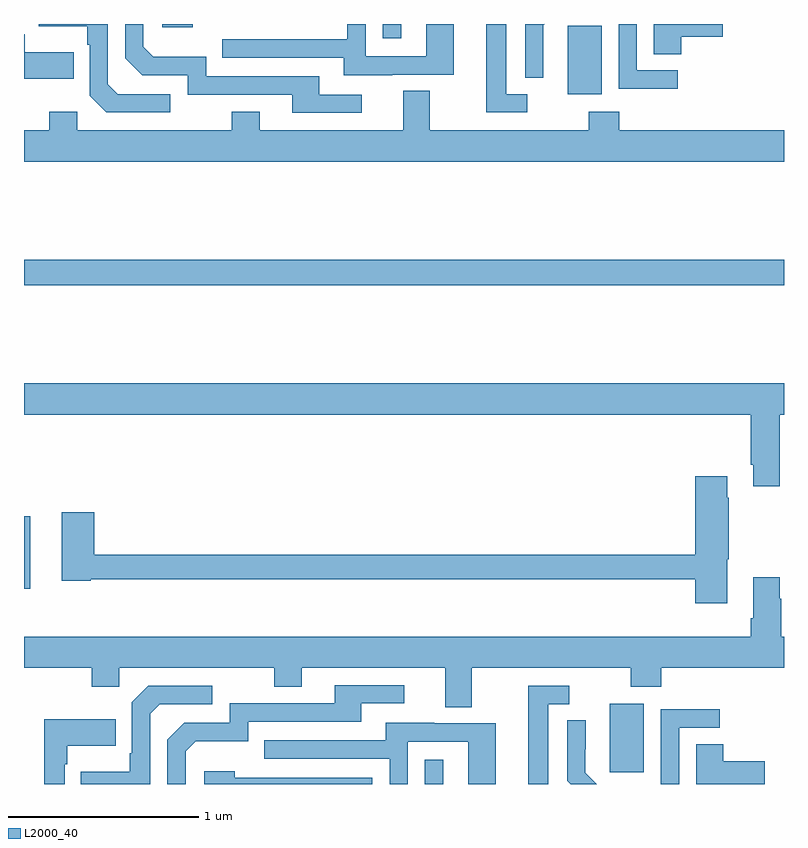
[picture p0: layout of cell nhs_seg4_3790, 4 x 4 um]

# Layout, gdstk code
import gdstk
lib = gdstk.Library(unit=1e-6, precision=1e-09)
def R(c, l, rs):  # rectangles x0, y0, x1, y1
    for r in rs: c.add(gdstk.rectangle(r[:2], r[2:], *l))
def P(c, l, *ps):  # polygons
    for p in ps: c.add(gdstk.Polygon(p, *l))
L2000_40 = (2000, 40)

nhs_seg4_3790 = lib.new_cell('nhs_seg4_3790')
R(nhs_seg4_3790, L2000_40, [(313.11,770.9,313.207,771.028), (314.084,770.961,314.263,771.322), (311,771.927,311.032,772.308), (311,773.524,315,773.66), (313.862,774.53,314.041,774.891), (312.888,774.825,312.985,774.9), (311.727,774.884,311.888,774.9)])
P(nhs_seg4_3790, L2000_40, [(314.44,774.657),(314.226,774.657),(314.226,774.9),(314.13,774.9),(314.13,774.559),(314.44,774.559)],
  [(313.734,774.77),(313.733,774.77),(313.733,774.893),(313.74,774.9),(313.638,774.9),(313.638,774.616),(313.734,774.616)],
  [(312.937,774.633),(313.261,774.633),(313.261,774.9),(313.116,774.9),(313.116,774.729),(312.798,774.729),(312.798,774.9),(312.702,774.9),(312.702,774.819),(312.043,774.819),(312.043,774.723),(312.683,774.723),(312.683,774.629),(312.937,774.629)],
  [(312.778,774.528),(312.553,774.528),(312.553,774.624),(311.958,774.624),(311.958,774.727),(311.681,774.727),(311.628,774.78),(311.628,774.9),(311.532,774.9),(311.532,774.72),(311.622,774.63),(311.862,774.63),(311.862,774.528),(312.413,774.528),(312.413,774.432),(312.778,774.432)],
  [(313.648,774.531),(313.537,774.531),(313.537,774.9),(313.433,774.9),(313.433,774.435),(313.648,774.435)],
  [(311.77,774.531),(311.493,774.531),(311.442,774.582),(311.442,774.9),(311.077,774.9),(311.077,774.887),(311.334,774.887),(311.334,774.791),(311.346,774.791),(311.346,774.522),(311.433,774.435),(311.77,774.435)],
  [(314.459,774.833),(314.677,774.833),(314.677,774.9),(314.315,774.9),(314.315,774.742),(314.459,774.742)],
  [(311.261,774.751),(311.005,774.751),(311.005,774.847),(311,774.847),(311,774.611),(311.261,774.611)],
  [(315,774.34),(314.132,774.34),(314.132,774.439),(313.972,774.439),(313.972,774.34),(313.135,774.34),(313.135,774.548),(312.995,774.548),(312.995,774.34),(312.241,774.34),(312.241,774.439),(312.094,774.439),(312.094,774.34),(311.28,774.34),(311.28,774.439),(311.134,774.439),(311.134,774.34),(311,774.34),(311,774.176),(315,774.176)],
  [(314.977,772.844),(315,772.844),(315,773.008),(311,773.008),(311,772.844),(314.825,772.844),(314.825,772.579),(314.837,772.579),(314.837,772.467),(314.977,772.467)],
  [(314.701,772.083),(314.709,772.083),(314.709,772.406),(314.701,772.406),(314.701,772.519),(314.534,772.519),(314.534,772.106),(311.369,772.106),(311.369,772.33),(311.198,772.33),(311.198,771.97),(311.352,771.97),(311.352,771.978),(314.534,771.978),(314.534,771.852),(314.701,771.852)],
  [(313.357,771.512),(314.194,771.512),(314.194,771.413),(314.354,771.413),(314.354,771.512),(315,771.512),(315,771.676),(314.985,771.676),(314.985,771.875),(314.977,771.875),(314.977,771.988),(314.837,771.988),(314.837,771.772),(314.825,771.772),(314.825,771.676),(311,771.676),(311,771.512),(311.356,771.512),(311.356,771.413),(311.502,771.413),(311.502,771.512),(312.316,771.512),(312.316,771.413),(312.463,771.413),(312.463,771.512),(313.217,771.512),(313.217,771.304),(313.357,771.304)],
  [(311.85,771.072),(311.903,771.125),(312.18,771.125),(312.18,771.228),(312.775,771.228),(312.775,771.324),(313,771.324),(313,771.42),(312.635,771.42),(312.635,771.324),(312.084,771.324),(312.084,771.222),(311.844,771.222),(311.754,771.132),(311.754,770.9),(311.85,770.9)],
  [(313.759,771.321),(313.87,771.321),(313.87,771.417),(313.655,771.417),(313.655,770.9),(313.759,770.9)],
  [(311.664,771.27),(311.715,771.321),(311.992,771.321),(311.992,771.417),(311.655,771.417),(311.568,771.33),(311.568,771.061),(311.556,771.061),(311.556,770.965),(311.299,770.965),(311.299,770.9),(311.664,770.9)],
  [(314.448,771.195),(314.662,771.195),(314.662,771.294),(314.352,771.294),(314.352,770.9),(314.448,770.9)],
  [(311.214,771.005),(311.227,771.005),(311.227,771.101),(311.483,771.101),(311.483,771.241),(311.106,771.241),(311.106,770.9),(311.214,770.9)],
  [(314.005,770.909),(313.955,770.96),(313.955,771.082),(313.956,771.082),(313.956,771.236),(313.86,771.236),(313.86,770.918),(313.878,770.9),(314.014,770.9)],
  [(313.02,771.123),(313.338,771.123),(313.338,770.9),(313.483,770.9),(313.483,771.219),(313.159,771.219),(313.159,771.223),(312.905,771.223),(312.905,771.129),(312.265,771.129),(312.265,771.033),(312.924,771.033),(312.924,770.9),(313.02,770.9)],
  [(314.899,771.02),(314.681,771.02),(314.681,771.11),(314.537,771.11),(314.537,770.9),(314.899,770.9)],
  [(312.834,770.934),(312.11,770.934),(312.11,770.968),(311.949,770.968),(311.949,770.9),(312.834,770.9)])

lib.write_gds('nhs_seg4_3790.gds')
